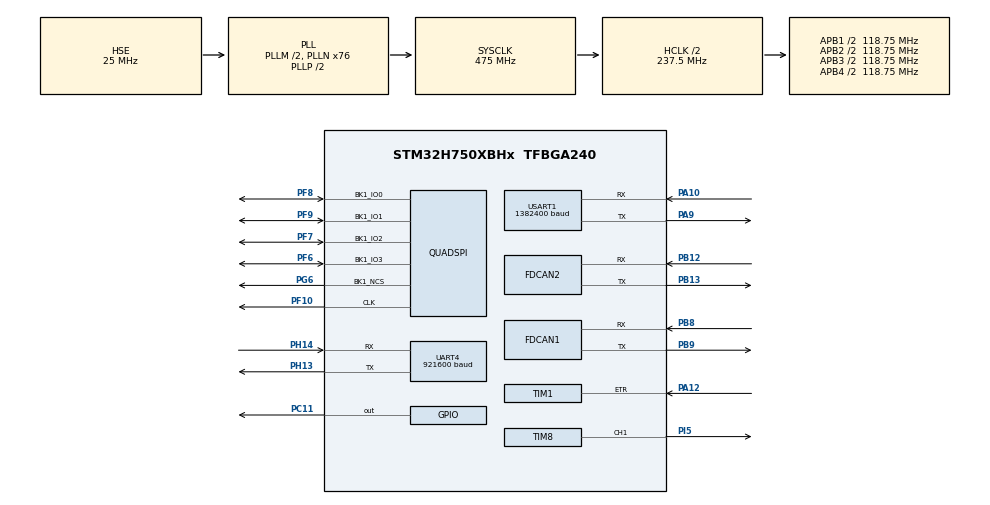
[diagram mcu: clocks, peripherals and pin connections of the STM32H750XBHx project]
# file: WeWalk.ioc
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CORTEX_M7.CPU_DCache=Disabled
CORTEX_M7.CPU_ICache=Disabled
CORTEX_M7.default_mode_Activation=0
Dma.MEMTOMEM.4.Direction=DMA_MEMORY_TO_MEMORY
Dma.MEMTOMEM.4.EventEnable=DISABLE
Dma.MEMTOMEM.4.FIFOMode=DMA_FIFOMODE_ENABLE
Dma.MEMTOMEM.4.FIFOThreshold=DMA_FIFO_THRESHOLD_FULL
Dma.MEMTOMEM.4.Instance=DMA2_Stream0
Dma.MEMTOMEM.4.MemBurst=DMA_MBURST_SINGLE
Dma.MEMTOMEM.4.MemDataAlignment=DMA_MDATAALIGN_BYTE
Dma.MEMTOMEM.4.MemInc=DMA_MINC_ENABLE
Dma.MEMTOMEM.4.Mode=DMA_NORMAL
Dma.MEMTOMEM.4.PeriphBurst=DMA_PBURST_SINGLE
Dma.MEMTOMEM.4.PeriphDataAlignment=DMA_PDATAALIGN_BYTE
Dma.MEMTOMEM.4.PeriphInc=DMA_PINC_DISABLE
Dma.MEMTOMEM.4.Polarity=HAL_DMAMUX_REQ_GEN_RISING
Dma.MEMTOMEM.4.Priority=DMA_PRIORITY_LOW
Dma.MEMTOMEM.4.RequestNumber=1
Dma.MEMTOMEM.4.SignalID=NONE
Dma.MEMTOMEM.4.SyncEnable=DISABLE
Dma.MEMTOMEM.4.SyncPolarity=HAL_DMAMUX_SYNC_NO_EVENT
Dma.MEMTOMEM.4.SyncRequestNumber=1
Dma.MEMTOMEM.4.SyncSignalID=NONE
Dma.Request0=USART1_RX
Dma.Request1=USART1_TX
Dma.Request2=UART4_RX
Dma.Request3=UART4_TX
Dma.Request4=MEMTOMEM
Dma.UART4_RX.2.Direction=DMA_PERIPH_TO_MEMORY
Dma.UART4_RX.2.EventEnable=DISABLE
Dma.UART4_RX.2.FIFOMode=DMA_FIFOMODE_DISABLE
Dma.UART4_RX.2.Instance=DMA1_Stream2
Dma.UART4_RX.2.MemDataAlignment=DMA_MDATAALIGN_BYTE
Dma.UART4_RX.2.MemInc=DMA_MINC_ENABLE
Dma.UART4_RX.2.Mode=DMA_CIRCULAR
Dma.UART4_RX.2.PeriphDataAlignment=DMA_PDATAALIGN_BYTE
Dma.UART4_RX.2.PeriphInc=DMA_PINC_DISABLE
Dma.UART4_RX.2.Polarity=HAL_DMAMUX_REQ_GEN_RISING
Dma.UART4_RX.2.Priority=DMA_PRIORITY_LOW
Dma.UART4_RX.2.RequestNumber=1
Dma.UART4_RX.2.SignalID=NONE
Dma.UART4_RX.2.SyncEnable=DISABLE
Dma.UART4_RX.2.SyncPolarity=HAL_DMAMUX_SYNC_NO_EVENT
Dma.UART4_RX.2.SyncRequestNumber=1
Dma.UART4_RX.2.SyncSignalID=NONE
Dma.UART4_TX.3.Direction=DMA_MEMORY_TO_PERIPH
Dma.UART4_TX.3.EventEnable=DISABLE
Dma.UART4_TX.3.FIFOMode=DMA_FIFOMODE_DISABLE
Dma.UART4_TX.3.Instance=DMA1_Stream3
Dma.UART4_TX.3.MemDataAlignment=DMA_MDATAALIGN_BYTE
Dma.UART4_TX.3.MemInc=DMA_MINC_ENABLE
Dma.UART4_TX.3.Mode=DMA_NORMAL
Dma.UART4_TX.3.PeriphDataAlignment=DMA_PDATAALIGN_BYTE
Dma.UART4_TX.3.PeriphInc=DMA_PINC_DISABLE
Dma.UART4_TX.3.Polarity=HAL_DMAMUX_REQ_GEN_RISING
Dma.UART4_TX.3.Priority=DMA_PRIORITY_LOW
Dma.UART4_TX.3.RequestNumber=1
Dma.UART4_TX.3.SignalID=NONE
Dma.UART4_TX.3.SyncEnable=DISABLE
Dma.UART4_TX.3.SyncPolarity=HAL_DMAMUX_SYNC_NO_EVENT
Dma.UART4_TX.3.SyncRequestNumber=1
Dma.UART4_TX.3.SyncSignalID=NONE
Dma.USART1_RX.0.Direction=DMA_PERIPH_TO_MEMORY
Dma.USART1_RX.0.EventEnable=DISABLE
Dma.USART1_RX.0.FIFOMode=DMA_FIFOMODE_DISABLE
Dma.USART1_RX.0.Instance=DMA1_Stream0
Dma.USART1_RX.0.MemDataAlignment=DMA_MDATAALIGN_BYTE
Dma.USART1_RX.0.MemInc=DMA_MINC_ENABLE
Dma.USART1_RX.0.Mode=DMA_CIRCULAR
Dma.USART1_RX.0.PeriphDataAlignment=DMA_PDATAALIGN_BYTE
Dma.USART1_RX.0.PeriphInc=DMA_PINC_DISABLE
Dma.USART1_RX.0.Polarity=HAL_DMAMUX_REQ_GEN_RISING
Dma.USART1_RX.0.Priority=DMA_PRIORITY_LOW
Dma.USART1_RX.0.RequestNumber=1
Dma.USART1_RX.0.SignalID=NONE
Dma.USART1_RX.0.SyncEnable=DISABLE
Dma.USART1_RX.0.SyncPolarity=HAL_DMAMUX_SYNC_NO_EVENT
Dma.USART1_RX.0.SyncRequestNumber=1
Dma.USART1_RX.0.SyncSignalID=NONE
Dma.USART1_TX.1.Direction=DMA_MEMORY_TO_PERIPH
Dma.USART1_TX.1.EventEnable=DISABLE
Dma.USART1_TX.1.FIFOMode=DMA_FIFOMODE_DISABLE
Dma.USART1_TX.1.Instance=DMA1_Stream1
Dma.USART1_TX.1.MemDataAlignment=DMA_MDATAALIGN_BYTE
Dma.USART1_TX.1.MemInc=DMA_MINC_ENABLE
Dma.USART1_TX.1.Mode=DMA_NORMAL
Dma.USART1_TX.1.PeriphDataAlignment=DMA_PDATAALIGN_BYTE
Dma.USART1_TX.1.PeriphInc=DMA_PINC_DISABLE
Dma.USART1_TX.1.Polarity=HAL_DMAMUX_REQ_GEN_RISING
Dma.USART1_TX.1.Priority=DMA_PRIORITY_LOW
Dma.USART1_TX.1.RequestNumber=1
Dma.USART1_TX.1.SignalID=NONE
Dma.USART1_TX.1.SyncEnable=DISABLE
Dma.USART1_TX.1.SyncPolarity=HAL_DMAMUX_SYNC_NO_EVENT
Dma.USART1_TX.1.SyncRequestNumber=1
Dma.USART1_TX.1.SyncSignalID=NONE
FDCAN1.AutoRetransmission=ENABLE
FDCAN1.CalculateBaudRateNominal=1000000
FDCAN1.CalculateTimeBitNominal=1000
FDCAN1.CalculateTimeQuantumNominal=100.0
FDCAN1.ClockCalibrationCCU=DISABLE
FDCAN1.FrameFormat=FDCAN_FRAME_CLASSIC
FDCAN1.NominalPrescaler=10
FDCAN1.NominalTimeSeg1=3
FDCAN1.NominalTimeSeg2=6
FDCAN1.RxBuffersNbr=5
FDCAN1.RxFifo0ElmtsNbr=5
FDCAN1.RxFifo1ElmtsNbr=5
FDCAN1.StdFiltersNbr=5
FDCAN1.TransmitPause=DISABLE
FDCAN1.TxBuffersNbr=2
FDCAN1.TxFifoQueueElmtsNbr=2
FDCAN1.TxFifoQueueMode=FDCAN_TX_QUEUE_OPERATION
FDCAN2.AutoRetransmission=ENABLE
FDCAN2.CalculateBaudRateNominal=1000000
FDCAN2.CalculateTimeBitNominal=1000
FDCAN2.CalculateTimeQuantumNominal=100.0
FDCAN2.FrameFormat=FDCAN_FRAME_CLASSIC
FDCAN2.NominalPrescaler=10
FDCAN2.NominalTimeSeg1=6
FDCAN2.NominalTimeSeg2=3
FDCAN2.RxBuffersNbr=2
FDCAN2.RxFifo0ElmtsNbr=3
FDCAN2.StdFiltersNbr=3
FDCAN2.TxBuffersNbr=2
FDCAN2.TxEventsNbr=2
FDCAN2.TxFifoQueueElmtsNbr=2
Mcu.Family=STM32H7
Mcu.Name=STM32H750XBHx
Mcu.Package=TFBGA240
NVIC.DMA1_Stream0_IRQn=true\:0\:0\:false\:false\:true\:false\:true\:true
NVIC.DMA1_Stream1_IRQn=true\:0\:0\:false\:false\:true\:false\:true\:true
NVIC.DMA1_Stream2_IRQn=true\:0\:0\:false\:false\:true\:false\:true\:true
NVIC.DMA1_Stream3_IRQn=true\:0\:0\:false\:false\:true\:false\:true\:true
NVIC.FDCAN1_IT0_IRQn=true\:0\:0\:false\:false\:true\:true\:true\:true
NVIC.FDCAN1_IT1_IRQn=true\:0\:0\:false\:false\:true\:true\:true\:true
NVIC.FDCAN2_IT0_IRQn=true\:0\:0\:false\:false\:true\:true\:true\:true
NVIC.FDCAN2_IT1_IRQn=true\:0\:0\:false\:false\:true\:true\:true\:true
NVIC.PriorityGroup=NVIC_PRIORITYGROUP_4
NVIC.TIM3_IRQn=true\:0\:0\:false\:false\:true\:true\:true\:true
NVIC.TIM4_IRQn=true\:0\:0\:false\:false\:true\:true\:true\:true
NVIC.TIM5_IRQn=true\:0\:0\:false\:false\:true\:true\:true\:true
NVIC.UART4_IRQn=true\:0\:0\:false\:false\:true\:true\:true\:true
NVIC.USART1_IRQn=true\:0\:0\:false\:false\:true\:true\:true\:true
PA10.GPIO_Speed=GPIO_SPEED_FREQ_VERY_HIGH
PA10.Mode=Asynchronous
PA10.Signal=USART1_RX
PA12.Signal=S_TIM1_ETR
PA9.GPIO_Speed=GPIO_SPEED_FREQ_VERY_HIGH
PA9.Mode=Asynchronous
PA9.Signal=USART1_TX
PB12.Mode=FDCAN_Activate
PB12.Signal=FDCAN2_RX
PB13.Mode=FDCAN_Activate
PB13.Signal=FDCAN2_TX
PB8.GPIO_Speed=GPIO_SPEED_FREQ_VERY_HIGH
PB8.Mode=FDCAN_Activate
PB8.Signal=FDCAN1_RX
PB9.GPIO_FM9=SYSCFG_PMCR_I2C_PB9_FMP
PB9.GPIO_Speed=GPIO_SPEED_FREQ_VERY_HIGH
PB9.Mode=FDCAN_Activate
PB9.Signal=FDCAN1_TX
PC11.Signal=GPIO_Output
PC14-OSC32_IN\ (OSC32_IN).Mode=LSE-External-Oscillator
PC14-OSC32_IN\ (OSC32_IN).Signal=RCC_OSC32_IN
PC15-OSC32_OUT\ (OSC32_OUT).Mode=LSE-External-Oscillator
PC15-OSC32_OUT\ (OSC32_OUT).Signal=RCC_OSC32_OUT
PE2.Signal=SPI4_SCK
PE5.Signal=SPI4_MISO
PE6.Signal=SPI4_MOSI
PF10.Mode=Single Bank 1
PF10.Signal=QUADSPI_CLK
PF6.Mode=Single Bank 1
PF6.Signal=QUADSPI_BK1_IO3
PF7.Mode=Single Bank 1
PF7.Signal=QUADSPI_BK1_IO2
PF8.Mode=Single Bank 1
PF8.Signal=QUADSPI_BK1_IO0
PF9.Mode=Single Bank 1
PF9.Signal=QUADSPI_BK1_IO1
PG6.Mode=Single Bank 1
PG6.Signal=QUADSPI_BK1_NCS
PH0-OSC_IN\ (PH0).Mode=HSE-External-Oscillator
PH0-OSC_IN\ (PH0).Signal=RCC_OSC_IN
PH1-OSC_OUT\ (PH1).Mode=HSE-External-Oscillator
PH1-OSC_OUT\ (PH1).Signal=RCC_OSC_OUT
PH13.GPIO_Speed=GPIO_SPEED_FREQ_VERY_HIGH
PH13.Mode=Asynchronous
PH13.Signal=UART4_TX
PH14.GPIO_Speed=GPIO_SPEED_FREQ_VERY_HIGH
PH14.Mode=Asynchronous
PH14.Signal=UART4_RX
PI5.Signal=S_TIM8_CH1
ProjectManager.HeapSize=0x200
ProjectManager.StackSize=0x400
ProjectManager.TargetToolchain=MDK-ARM V5
QUADSPI.ClockPrescaler=50
QUADSPI.FlashSize=24-1
RCC.ADCFreq_Value=100000000
RCC.APB1Freq_Value=118750000
RCC.APB2Freq_Value=118750000
RCC.APB3Freq_Value=118750000
RCC.APB4Freq_Value=118750000
RCC.CortexFreq_Value=475000000
RCC.D1PPRE=RCC_APB3_DIV2
RCC.D2PPRE1=RCC_APB1_DIV2
RCC.D2PPRE2=RCC_APB2_DIV2
RCC.D3PPRE=RCC_APB4_DIV2
RCC.DIVM1=2
RCC.DIVM2=20
RCC.DIVM3=25
RCC.DIVN1=76
RCC.DIVN2=240
RCC.DIVN3=300
RCC.DIVP2=3
RCC.DIVP3=20
RCC.DIVQ1=1
RCC.DIVQ2=3
RCC.DIVQ3=1
RCC.FDCANCLockSelection=RCC_FDCANCLKSOURCE_PLL2
RCC.HCLKFreq_Value=237500000
RCC.HPRE=RCC_HCLK_DIV2
RCC.HSE_VALUE=25000000
RCC.PLL2FRACN=0
RCC.PLL3FRACN=0
RCC.PLLFRACN=0
RCC.PLLSourceVirtual=RCC_PLLSOURCE_HSE
RCC.SPI123CLockSelection=RCC_SPI123CLKSOURCE_CLKP
RCC.SYSCLKFreq_VALUE=475000000
RCC.SYSCLKSource=RCC_SYSCLKSOURCE_PLLCLK
RCC.SupplySource=PWR_LDO_SUPPLY
RCC.USBFreq_Value=950000000
SH.S_TIM1_ETR.0=TIM1_ETR,ClockSourceETR_Mode2
SH.S_TIM8_CH1.0=TIM8_CH1,PWM Generation1 CH1
TIM3.Period=50-1
TIM3.Prescaler=47500-1
TIM4.Period=50-1
TIM4.Prescaler=47500-1
TIM5.Period=50-1
TIM5.Prescaler=4750-1
TIM8.Channel-PWM\ Generation1\ CH1=TIM_CHANNEL_1
TIM8.Period=1000-1
TIM8.Prescaler=2375-1
TIM8.Pulse-PWM\ Generation1\ CH1=300-1
UART4.BaudRate=921600
UART4.WordLength=WORDLENGTH_8B
USART1.BaudRate=1382400
USART1.VirtualMode-Asynchronous=VM_ASYNC
VP_MEMORYMAP_VS_MEMORYMAP.Mode=CurAppReg
VP_TIM3_VS_ClockSourceINT.Mode=Internal
VP_TIM4_VS_ClockSourceINT.Mode=Internal
VP_TIM5_VS_ClockSourceINT.Mode=Internal
board=custom

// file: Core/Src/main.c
/* USER CODE BEGIN Header */
/**
  ******************************************************************************
  * @file           : main.c
  * @brief          : Main program body
  ******************************************************************************
  * @attention
  *
  * Copyright (c) 2025 STMicroelectronics.
  * All rights reserved.
  *
  * This software is licensed under terms that can be found in the LICENSE file
  * in the root directory of this software component.
  * If no LICENSE file comes with this software, it is provided AS-IS.
  *
  ******************************************************************************
  */
/* USER CODE END Header */
#include "main.h"

FDCAN_HandleTypeDef hfdcan1;
FDCAN_HandleTypeDef hfdcan2;

QSPI_HandleTypeDef hqspi;

TIM_HandleTypeDef htim1;
TIM_HandleTypeDef htim3;
TIM_HandleTypeDef htim4;
TIM_HandleTypeDef htim5;
TIM_HandleTypeDef htim8;

UART_HandleTypeDef huart4;
UART_HandleTypeDef huart1;
DMA_HandleTypeDef hdma_uart4_rx;
DMA_HandleTypeDef hdma_uart4_tx;
DMA_HandleTypeDef hdma_usart1_rx;
DMA_HandleTypeDef hdma_usart1_tx;

DMA_HandleTypeDef hdma_memtomem_dma2_stream0;
/* USER CODE BEGIN PV */
/* Formal WeWalk Code */
WeWalkUIHandle                      hUI;
uint32_t                            ui_scheduler_count = 0;
float                               ui_scheduler_time_check = 0.0f;
WeWalkUnilateralHandle              hWeWalkRight, hWeWalkLeft;
GaitPhaseDetectionHandle            hGaitPhaseDetectionRight, hGaitPhaseDetectionLeft;
WeWalkHandle                        hWeWalk;
uint32_t                            main_scheduler_count = 0;
float                               main_scheduler_time_check = 0.0f;
SerialProtocolEchoHandle            hSerialPC;
FDCAN_RxHeaderTypeDef               rightMotorRxHeader;
FDCAN_TxHeaderTypeDef               rightMotorTxHeader =
{
  .Identifier = 0x140 + WEWALKMIDDLEWARE_RIGHT_MOTOR_ID,
  .IdType = FDCAN_STANDARD_ID,
  .TxFrameType = FDCAN_DATA_FRAME,
  .DataLength = FDCAN_DLC_BYTES_8,
  .FDFormat = FDCAN_CLASSIC_CAN,
  .TxEventFifoControl = FDCAN_NO_TX_EVENTS
};

FDCAN_FilterTypeDef                 rightMotorRxFilter =
{
	.IdType = FDCAN_STANDARD_ID,
	.FilterIndex = 0,
	.FilterType = FDCAN_FILTER_DUAL,
	.FilterID1 = 0x140 + WEWALKMIDDLEWARE_RIGHT_MOTOR_ID,
	.FilterID2 = 0x01,
	.FilterConfig = FDCAN_FILTER_TO_RXFIFO0_HP,
	.RxBufferIndex = 0
};

FDCAN_FilterTypeDef                 rightThighIMURx1Filter =
{
	.IdType = FDCAN_STANDARD_ID,
	.FilterIndex = 1,
	.FilterType = FDCAN_FILTER_DUAL,
	.FilterID1 = 10,
	.FilterID2 = 11,
	.FilterConfig = FDCAN_FILTER_TO_RXFIFO1_HP,
	.RxBufferIndex = 0
};
FDCAN_FilterTypeDef                 rightThighIMURx2Filter =
{
	.IdType = FDCAN_STANDARD_ID,
	.FilterIndex = 2,
	.FilterType = FDCAN_FILTER_DUAL,
	.FilterID1 = 12,
	.FilterID2 = 0,
	.FilterConfig = FDCAN_FILTER_TO_RXFIFO1_HP,
	.RxBufferIndex = 0
};

FDCAN_FilterTypeDef                 rightShankIMURx1Filter =
{
	.IdType = FDCAN_STANDARD_ID,
	.FilterIndex = 3,
	.FilterType = FDCAN_FILTER_DUAL,
	.FilterID1 = 13,
	.FilterID2 = 14,
	.FilterConfig = FDCAN_FILTER_TO_RXFIFO1_HP,
	.RxBufferIndex = 0
};
FDCAN_FilterTypeDef                 rightShankIMURx2Filter =
{
	.IdType = FDCAN_STANDARD_ID,
	.FilterIndex = 4,
	.FilterType = FDCAN_FILTER_DUAL,
	.FilterID1 = 15,
	.FilterID2 = 20,
	.FilterConfig = FDCAN_FILTER_TO_RXFIFO1_HP,
	.RxBufferIndex = 0
};

LKTECH_MG_Handle                    hMotorLeft, hMotorRight;
uint32_t                            motor_scheduler_count = 0;
float                               motor_scheduler_time_check = 0.0f;

/*IMU*/
union Int16UInt8 accThigh[3], gyroThigh[3], accShank[3], gyroShank[3];
union FloatUInt8 angleThigh[3], angleShank[3];
float thighIMURxCount = 0.0f;
float shankIMURxCount = 0.0f;

//For new task schedulaer logic testing//
uint8_t wewalk_ui_task_trigger_flag = 0;
uint8_t wewalk_main_task_trigger_flag = 0;
uint8_t wewalk_main_task_datalog_trigger = 0;
const uint8_t wewalk_main_task_datalog_trigger_threshold = 1;
uint8_t motor_task_trigger_flag = 0;
///////////////
/* USER CODE END PV */

void SystemClock_Config(void);
void PeriphCommonClock_Config(void);
static void MX_GPIO_Init(void);
static void MX_DMA_Init(void);
static void MX_FDCAN1_Init(void);
static void MX_FDCAN2_Init(void);
static void MX_USART1_UART_Init(void);
static void MX_UART4_Init(void);
static void MX_TIM1_Init(void);
static void MX_TIM8_Init(void);
static void MX_TIM3_Init(void);
static void MX_TIM4_Init(void);
static void MX_QUADSPI_Init(void);
static void MX_TIM5_Init(void);

int main(void)
{

  /* MCU Configuration--------------------------------------------------------*/

  /* Reset of all peripherals, Initializes the Flash interface and the Systick. */
  HAL_Init();

  /* Configure the system clock */
  SystemClock_Config();

  /* Configure the peripherals common clocks */
  PeriphCommonClock_Config();

  /* Initialize all configured peripherals */
  MX_GPIO_Init();
  MX_DMA_Init();
  MX_FDCAN1_Init();
  MX_FDCAN2_Init();
  MX_USART1_UART_Init();
  MX_UART4_Init();
  MX_TIM1_Init();
  MX_TIM8_Init();
  MX_TIM3_Init();
  MX_TIM4_Init();
  MX_QUADSPI_Init();
  MX_TIM5_Init();
  /* USER CODE BEGIN 2 */
  //////////////////////////////////////
  /////////Communication and UI/////////
  //////////////////////////////////////
  hSerialPC = SERIALPROTOCOLECHO_Create(&huart4, &hdma_memtomem_dma2_stream0);
  SERIALPROTOCOLECHO_EnableCommunication_CircularDMAMode(&hSerialPC);
  hUI = WEWALKUI_Create();
  hUI.serialUI = SERIALPROTOCOLECHO_Create(&huart1, &hdma_memtomem_dma2_stream0);
  SERIALPROTOCOLECHO_EnableCommunication_CircularDMAMode(&hUI.serialUI);
  SERIALPROTOCOLECHO_SetNewDatalogSendLabelFunction(&hSerialPC, Datalog_SendLabel);
	SERIALPROTOCOLECHO_SetNewDatalogSlot(&hSerialPC, datalog_data);
  SERIALPROTOCOLECHO_SetNewDatalogSlotLength(&hSerialPC, 24);

  /////////////////////////////////////
  //////////////Actuators//////////////
  /////////////////////////////////////
  LKTECH_MG_Init(&hMotorRight, &hfdcan1, &rightMotorTxHeader, &rightMotorRxHeader, &rightMotorRxFilter, 1, 36.0f, 1.0f);
  //////////////////////////////////////
  /////////////////IMUs/////////////////
  //////////////////////////////////////
  HAL_FDCAN_ConfigFilter(&hfdcan1, &rightThighIMURx1Filter);
  HAL_FDCAN_ConfigFilter(&hfdcan1, &rightThighIMURx2Filter);
  HAL_FDCAN_ConfigFilter(&hfdcan1, &rightShankIMURx1Filter);
  HAL_FDCAN_ConfigFilter(&hfdcan1, &rightShankIMURx2Filter);
//  HAL_FDCAN_ConfigFilter(&hfdcan1, &rightFootPlateSensorRxFilter);
  HAL_FDCAN_Start(&hfdcan1);
  HAL_FDCAN_ActivateNotification(&hfdcan1, FDCAN_IT_RX_FIFO0_NEW_MESSAGE, 0);
  HAL_FDCAN_ActivateNotification(&hfdcan1, FDCAN_IT_RX_FIFO1_NEW_MESSAGE, 0);
  HAL_FDCAN_ActivateNotification(&hfdcan1, FDCAN_IT_RX_BUFFER_NEW_MESSAGE, 0);
  /////////////////////////////////////
  //////////////Scheduler//////////////
  /////////////////////////////////////
  hGaitPhaseDetectionRight = WEWALK_GaitPhaseDetectionCreate(0.00032f, 1.0f);
  hWeWalkRight = WEWALKUNILATERAL_Create(&htim8, TIM_CHANNEL_1, &hGaitPhaseDetectionRight);
  hWeWalk = WEWALK_Create(&hUI, &hSerialPC, &hWeWalkLeft, &hWeWalkRight, WEWALK_APPLICATION_TYPE_UNILATERAL_LEG_RIGHT);

  //////////////////////////////////////
  ////////Flash and Load Settings///////
  //////////////////////////////////////
  W25Q_Init();
  WEWALKFLASH_LoadSettings(&hWeWalk);
  //////////////////////////////////////
  //////////////Start Tasks/////////////
  //////////////////////////////////////
  HAL_TIM_Base_Start_IT(&htim3);
  HAL_TIM_Base_Start_IT(&htim4);
  HAL_TIM_Base_Start_IT(&htim5);
	HAL_TIM_PWM_Start(&htim8, TIM_CHANNEL_1);
  WEWALKUI_SetLEDLogoPWMCCR(hWeWalk.right, hWeWalk.right->setting.ledLogoBrightnessPWMCCR);
  /* USER CODE END 2 */

  /* Infinite loop */
  /* USER CODE BEGIN WHILE */
  while (1)
  {
    if (hWeWalk.ifSaveSettingRequired)
    {
      WEWALKFLASH_SaveSettings(&hWeWalk);
      hWeWalk.ifSaveSettingRequired = 0;
      HAL_Delay(1000);
    }

    if (wewalk_ui_task_trigger_flag)
    {
      wewalk_ui_task_trigger_flag = 0;
      SERIALPROTOCOLECHO_ReceiveCargo(&hUI.serialUI);
      WEWALKUI_Host(&hWeWalk);
      ui_scheduler_count += 10;
      ui_scheduler_time_check = (float)HAL_GetTick() - (float)ui_scheduler_count;
    }

    if (wewalk_main_task_trigger_flag)
    {
      wewalk_main_task_trigger_flag = 0;
			SERIALPROTOCOLECHO_ReceiveCargo(&hSerialPC);
      SERIALPROTOCOLECHO_MasterHost(&hSerialPC);
      WEWALK_Main(&hWeWalk);
      main_scheduler_count += 10;
      main_scheduler_time_check = (float)HAL_GetTick() - (float)main_scheduler_count;
    }

    if (wewalk_main_task_datalog_trigger == wewalk_main_task_datalog_trigger_threshold)
    {
      datalog_data[0].f = hWeWalkRight.data.accThigh[0].f;
      datalog_data[1].f = hWeWalkRight.data.accThigh[1].f;
      datalog_data[2].f = hWeWalkRight.data.accThigh[2].f;
      datalog_data[3].f = hWeWalkRight.data.gyroThigh[0].f;
      datalog_data[4].f = hWeWalkRight.data.gyroThigh[1].f;
      datalog_data[5].f = hWeWalkRight.data.gyroThigh[2].f;
      datalog_data[6].f = hWeWalkRight.data.accShank[0].f;
      datalog_data[7].f = hWeWalkRight.data.accShank[1].f;
      datalog_data[8].f = hWeWalkRight.data.accShank[2].f;
      datalog_data[9].f = hWeWalkRight.data.gyroShank[0].f;
      datalog_data[10].f = hWeWalkRight.data.gyroShank[1].f;
      datalog_data[11].f = hWeWalkRight.data.gyroShank[2].f;
      datalog_data[12].f = hWeWalkRight.data.motorPos.f;
      datalog_data[13].f = hWeWalkRight.data.motorVel.f;
      datalog_data[14].f = hWeWalkRight.data.motorTorque.f;
      datalog_data[15].f = hWeWalkRight.data.gaitPhaseIndicator.f;
      datalog_data[16].f = hWeWalkRight.data.angleThigh[0].f;
      datalog_data[17].f = hWeWalkRight.data.angleThigh[1].f;
      datalog_data[18].f = hWeWalkRight.data.angleThigh[2].f;
      datalog_data[19].f = hWeWalkRight.data.angleShank[0].f;
      datalog_data[20].f = hWeWalkRight.data.angleShank[1].f;
      datalog_data[21].f = hWeWalkRight.data.angleShank[2].f;
      datalog_data[22].f = hWeWalkRight.data.forceSensorToe.f;
      datalog_data[23].f = hWeWalkRight.data.forceSensorHeel.f;
      hWeWalk.serialPC->ifNewDatalogPiece2Send = 1;
      wewalk_main_task_datalog_trigger = 0;
    }

    if (motor_task_trigger_flag)
    {
      motor_task_trigger_flag = 0;
      WEWALKMIDDLEWARE_MotorControlManager(&hWeWalk, &hMotorLeft, &hMotorRight);
    }

    /* USER CODE END WHILE */

  }
}

void SystemClock_Config(void)
{
  RCC_OscInitTypeDef RCC_OscInitStruct = {0};
  RCC_ClkInitTypeDef RCC_ClkInitStruct = {0};

  /** Supply configuration update enable
  */
  HAL_PWREx_ConfigSupply(PWR_LDO_SUPPLY);

  /** Configure the main internal regulator output voltage
  */
  __HAL_PWR_VOLTAGESCALING_CONFIG(PWR_REGULATOR_VOLTAGE_SCALE0);

  while(!__HAL_PWR_GET_FLAG(PWR_FLAG_VOSRDY)) {}

  /** Initializes the RCC Oscillators according to the specified parameters
  * in the RCC_OscInitTypeDef structure.
  */
  RCC_OscInitStruct.OscillatorType = RCC_OSCILLATORTYPE_HSE;
  RCC_OscInitStruct.HSEState = RCC_HSE_ON;
  RCC_OscInitStruct.PLL.PLLState = RCC_PLL_ON;
  RCC_OscInitStruct.PLL.PLLSource = RCC_PLLSOURCE_HSE;
  RCC_OscInitStruct.PLL.PLLM = 2;
  RCC_OscInitStruct.PLL.PLLN = 76;
  RCC_OscInitStruct.PLL.PLLP = 2;
  RCC_OscInitStruct.PLL.PLLQ = 1;
  RCC_OscInitStruct.PLL.PLLR = 2;
  RCC_OscInitStruct.PLL.PLLRGE = RCC_PLL1VCIRANGE_3;
  RCC_OscInitStruct.PLL.PLLVCOSEL = RCC_PLL1VCOWIDE;
  RCC_OscInitStruct.PLL.PLLFRACN = 0;
  if (HAL_RCC_OscConfig(&RCC_OscInitStruct) != HAL_OK)
  {
    Error_Handler();
  }

  /** Initializes the CPU, AHB and APB buses clocks
  */
  RCC_ClkInitStruct.ClockType = RCC_CLOCKTYPE_HCLK|RCC_CLOCKTYPE_SYSCLK
                              |RCC_CLOCKTYPE_PCLK1|RCC_CLOCKTYPE_PCLK2
                              |RCC_CLOCKTYPE_D3PCLK1|RCC_CLOCKTYPE_D1PCLK1;
  RCC_ClkInitStruct.SYSCLKSource = RCC_SYSCLKSOURCE_PLLCLK;
  RCC_ClkInitStruct.SYSCLKDivider = RCC_SYSCLK_DIV1;
  RCC_ClkInitStruct.AHBCLKDivider = RCC_HCLK_DIV2;
  RCC_ClkInitStruct.APB3CLKDivider = RCC_APB3_DIV2;
  RCC_ClkInitStruct.APB1CLKDivider = RCC_APB1_DIV2;
  RCC_ClkInitStruct.APB2CLKDivider = RCC_APB2_DIV2;
  RCC_ClkInitStruct.APB4CLKDivider = RCC_APB4_DIV2;

  if (HAL_RCC_ClockConfig(&RCC_ClkInitStruct, FLASH_LATENCY_4) != HAL_OK)
  {
    Error_Handler();
  }
}

void PeriphCommonClock_Config(void)
{
  RCC_PeriphCLKInitTypeDef PeriphClkInitStruct = {0};

  /** Initializes the peripherals clock
  */
  PeriphClkInitStruct.PeriphClockSelection = RCC_PERIPHCLK_FDCAN;
  PeriphClkInitStruct.PLL2.PLL2M = 20;
  PeriphClkInitStruct.PLL2.PLL2N = 240;
  PeriphClkInitStruct.PLL2.PLL2P = 3;
  PeriphClkInitStruct.PLL2.PLL2Q = 3;
  PeriphClkInitStruct.PLL2.PLL2R = 2;
  PeriphClkInitStruct.PLL2.PLL2RGE = RCC_PLL2VCIRANGE_0;
  PeriphClkInitStruct.PLL2.PLL2VCOSEL = RCC_PLL2VCOWIDE;
  PeriphClkInitStruct.PLL2.PLL2FRACN = 0;
  PeriphClkInitStruct.FdcanClockSelection = RCC_FDCANCLKSOURCE_PLL2;
  if (HAL_RCCEx_PeriphCLKConfig(&PeriphClkInitStruct) != HAL_OK)
  {
    Error_Handler();
  }
}

static void MX_FDCAN1_Init(void)
{

  hfdcan1.Instance = FDCAN1;
  hfdcan1.Init.FrameFormat = FDCAN_FRAME_CLASSIC;
  hfdcan1.Init.Mode = FDCAN_MODE_NORMAL;
  hfdcan1.Init.AutoRetransmission = ENABLE;
  hfdcan1.Init.TransmitPause = DISABLE;
  hfdcan1.Init.ProtocolException = DISABLE;
  hfdcan1.Init.NominalPrescaler = 10;
  hfdcan1.Init.NominalSyncJumpWidth = 1;
  hfdcan1.Init.NominalTimeSeg1 = 3;
  hfdcan1.Init.NominalTimeSeg2 = 6;
  hfdcan1.Init.DataPrescaler = 1;
  hfdcan1.Init.DataSyncJumpWidth = 1;
  hfdcan1.Init.DataTimeSeg1 = 1;
  hfdcan1.Init.DataTimeSeg2 = 1;
  hfdcan1.Init.MessageRAMOffset = 0;
  hfdcan1.Init.StdFiltersNbr = 5;
  hfdcan1.Init.ExtFiltersNbr = 0;
  hfdcan1.Init.RxFifo0ElmtsNbr = 5;
  hfdcan1.Init.RxFifo0ElmtSize = FDCAN_DATA_BYTES_8;
  hfdcan1.Init.RxFifo1ElmtsNbr = 5;
  hfdcan1.Init.RxFifo1ElmtSize = FDCAN_DATA_BYTES_8;
  hfdcan1.Init.RxBuffersNbr = 5;
  hfdcan1.Init.RxBufferSize = FDCAN_DATA_BYTES_8;
  hfdcan1.Init.TxEventsNbr = 0;
  hfdcan1.Init.TxBuffersNbr = 2;
  hfdcan1.Init.TxFifoQueueElmtsNbr = 2;
  hfdcan1.Init.TxFifoQueueMode = FDCAN_TX_QUEUE_OPERATION;
  hfdcan1.Init.TxElmtSize = FDCAN_DATA_BYTES_8;
  if (HAL_FDCAN_Init(&hfdcan1) != HAL_OK)
  {
    Error_Handler();
  }

}

static void MX_FDCAN2_Init(void)
{

  hfdcan2.Instance = FDCAN2;
  hfdcan2.Init.FrameFormat = FDCAN_FRAME_CLASSIC;
  hfdcan2.Init.Mode = FDCAN_MODE_NORMAL;
  hfdcan2.Init.AutoRetransmission = ENABLE;
  hfdcan2.Init.TransmitPause = DISABLE;
  hfdcan2.Init.ProtocolException = DISABLE;
  hfdcan2.Init.NominalPrescaler = 10;
  hfdcan2.Init.NominalSyncJumpWidth = 1;
  hfdcan2.Init.NominalTimeSeg1 = 6;
  hfdcan2.Init.NominalTimeSeg2 = 3;
  hfdcan2.Init.DataPrescaler = 1;
  hfdcan2.Init.DataSyncJumpWidth = 1;
  hfdcan2.Init.DataTimeSeg1 = 1;
  hfdcan2.Init.DataTimeSeg2 = 1;
  hfdcan2.Init.MessageRAMOffset = 0;
  hfdcan2.Init.StdFiltersNbr = 3;
  hfdcan2.Init.ExtFiltersNbr = 0;
  hfdcan2.Init.RxFifo0ElmtsNbr = 3;
  hfdcan2.Init.RxFifo0ElmtSize = FDCAN_DATA_BYTES_8;
  hfdcan2.Init.RxFifo1ElmtsNbr = 0;
  hfdcan2.Init.RxFifo1ElmtSize = FDCAN_DATA_BYTES_8;
  hfdcan2.Init.RxBuffersNbr = 2;
  hfdcan2.Init.RxBufferSize = FDCAN_DATA_BYTES_8;
  hfdcan2.Init.TxEventsNbr = 2;
  hfdcan2.Init.TxBuffersNbr = 2;
  hfdcan2.Init.TxFifoQueueElmtsNbr = 2;
  hfdcan2.Init.TxFifoQueueMode = FDCAN_TX_FIFO_OPERATION;
  hfdcan2.Init.TxElmtSize = FDCAN_DATA_BYTES_8;
  if (HAL_FDCAN_Init(&hfdcan2) != HAL_OK)
  {
    Error_Handler();
  }

}

static void MX_QUADSPI_Init(void)
{

  /* QUADSPI parameter configuration*/
  hqspi.Instance = QUADSPI;
  hqspi.Init.ClockPrescaler = 50;
  hqspi.Init.FifoThreshold = 1;
  hqspi.Init.SampleShifting = QSPI_SAMPLE_SHIFTING_NONE;
  hqspi.Init.FlashSize = 24-1;
  hqspi.Init.ChipSelectHighTime = QSPI_CS_HIGH_TIME_1_CYCLE;
  hqspi.Init.ClockMode = QSPI_CLOCK_MODE_0;
  hqspi.Init.FlashID = QSPI_FLASH_ID_1;
  hqspi.Init.DualFlash = QSPI_DUALFLASH_DISABLE;
  if (HAL_QSPI_Init(&hqspi) != HAL_OK)
  {
    Error_Handler();
  }

}

static void MX_TIM1_Init(void)
{

  TIM_ClockConfigTypeDef sClockSourceConfig = {0};
  TIM_MasterConfigTypeDef sMasterConfig = {0};

  htim1.Instance = TIM1;
  htim1.Init.Prescaler = 0;
  htim1.Init.CounterMode = TIM_COUNTERMODE_UP;
  htim1.Init.Period = 65535;
  htim1.Init.ClockDivision = TIM_CLOCKDIVISION_DIV1;
  htim1.Init.RepetitionCounter = 0;
  htim1.Init.AutoReloadPreload = TIM_AUTORELOAD_PRELOAD_DISABLE;
  if (HAL_TIM_Base_Init(&htim1) != HAL_OK)
  {
    Error_Handler();
  }
  sClockSourceConfig.ClockSource = TIM_CLOCKSOURCE_ETRMODE2;
  sClockSourceConfig.ClockPolarity = TIM_CLOCKPOLARITY_NONINVERTED;
  sClockSourceConfig.ClockPrescaler = TIM_CLOCKPRESCALER_DIV1;
  sClockSourceConfig.ClockFilter = 0;
  if (HAL_TIM_ConfigClockSource(&htim1, &sClockSourceConfig) != HAL_OK)
  {
    Error_Handler();
  }
  sMasterConfig.MasterOutputTrigger = TIM_TRGO_RESET;
  sMasterConfig.MasterOutputTrigger2 = TIM_TRGO2_RESET;
  sMasterConfig.MasterSlaveMode = TIM_MASTERSLAVEMODE_DISABLE;
  if (HAL_TIMEx_MasterConfigSynchronization(&htim1, &sMasterConfig) != HAL_OK)
  {
    Error_Handler();
  }

}

static void MX_TIM3_Init(void)
{

  TIM_ClockConfigTypeDef sClockSourceConfig = {0};
  TIM_MasterConfigTypeDef sMasterConfig = {0};

  htim3.Instance = TIM3;
  htim3.Init.Prescaler = 47500-1;
  htim3.Init.CounterMode = TIM_COUNTERMODE_UP;
  htim3.Init.Period = 50-1;
  htim3.Init.ClockDivision = TIM_CLOCKDIVISION_DIV1;
  htim3.Init.AutoReloadPreload = TIM_AUTORELOAD_PRELOAD_DISABLE;
  if (HAL_TIM_Base_Init(&htim3) != HAL_OK)
  {
    Error_Handler();
  }
  sClockSourceConfig.ClockSource = TIM_CLOCKSOURCE_INTERNAL;
  if (HAL_TIM_ConfigClockSource(&htim3, &sClockSourceConfig) != HAL_OK)
  {
    Error_Handler();
  }
  sMasterConfig.MasterOutputTrigger = TIM_TRGO_RESET;
  sMasterConfig.MasterSlaveMode = TIM_MASTERSLAVEMODE_DISABLE;
  if (HAL_TIMEx_MasterConfigSynchronization(&htim3, &sMasterConfig) != HAL_OK)
  {
    Error_Handler();
  }

}

static void MX_TIM4_Init(void)
{

  TIM_ClockConfigTypeDef sClockSourceConfig = {0};
  TIM_MasterConfigTypeDef sMasterConfig = {0};

  htim4.Instance = TIM4;
  htim4.Init.Prescaler = 47500-1;
  htim4.Init.CounterMode = TIM_COUNTERMODE_UP;
  htim4.Init.Period = 50-1;
  htim4.Init.ClockDivision = TIM_CLOCKDIVISION_DIV1;
  htim4.Init.AutoReloadPreload = TIM_AUTORELOAD_PRELOAD_DISABLE;
  if (HAL_TIM_Base_Init(&htim4) != HAL_OK)
  {
    Error_Handler();
  }
  sClockSourceConfig.ClockSource = TIM_CLOCKSOURCE_INTERNAL;
  if (HAL_TIM_ConfigClockSource(&htim4, &sClockSourceConfig) != HAL_OK)
  {
    Error_Handler();
  }
  sMasterConfig.MasterOutputTrigger = TIM_TRGO_RESET;
  sMasterConfig.MasterSlaveMode = TIM_MASTERSLAVEMODE_DISABLE;
  if (HAL_TIMEx_MasterConfigSynchronization(&htim4, &sMasterConfig) != HAL_OK)
  {
    Error_Handler();
  }

}

static void MX_TIM5_Init(void)
{

  TIM_ClockConfigTypeDef sClockSourceConfig = {0};
  TIM_MasterConfigTypeDef sMasterConfig = {0};

  htim5.Instance = TIM5;
  htim5.Init.Prescaler = 4750-1;
  htim5.Init.CounterMode = TIM_COUNTERMODE_UP;
  htim5.Init.Period = 50-1;
  htim5.Init.ClockDivision = TIM_CLOCKDIVISION_DIV1;
  htim5.Init.AutoReloadPreload = TIM_AUTORELOAD_PRELOAD_DISABLE;
  if (HAL_TIM_Base_Init(&htim5) != HAL_OK)
  {
    Error_Handler();
  }
  sClockSourceConfig.ClockSource = TIM_CLOCKSOURCE_INTERNAL;
  if (HAL_TIM_ConfigClockSource(&htim5, &sClockSourceConfig) != HAL_OK)
  {
    Error_Handler();
  }
  sMasterConfig.MasterOutputTrigger = TIM_TRGO_RESET;
  sMasterConfig.MasterSlaveMode = TIM_MASTERSLAVEMODE_DISABLE;
  if (HAL_TIMEx_MasterConfigSynchronization(&htim5, &sMasterConfig) != HAL_OK)
  {
    Error_Handler();
  }

}

static void MX_TIM8_Init(void)
{

  TIM_MasterConfigTypeDef sMasterConfig = {0};
  TIM_OC_InitTypeDef sConfigOC = {0};
  TIM_BreakDeadTimeConfigTypeDef sBreakDeadTimeConfig = {0};

  htim8.Instance = TIM8;
  htim8.Init.Prescaler = 2375-1;
  htim8.Init.CounterMode = TIM_COUNTERMODE_UP;
  htim8.Init.Period = 1000-1;
  htim8.Init.ClockDivision = TIM_CLOCKDIVISION_DIV1;
  htim8.Init.RepetitionCounter = 0;
  htim8.Init.AutoReloadPreload = TIM_AUTORELOAD_PRELOAD_DISABLE;
  if (HAL_TIM_PWM_Init(&htim8) != HAL_OK)
  {
    Error_Handler();
  }
  sMasterConfig.MasterOutputTrigger = TIM_TRGO_RESET;
  sMasterConfig.MasterOutputTrigger2 = TIM_TRGO2_RESET;
  sMasterConfig.MasterSlaveMode = TIM_MASTERSLAVEMODE_DISABLE;
  if (HAL_TIMEx_MasterConfigSynchronization(&htim8, &sMasterConfig) != HAL_OK)
  {
    Error_Handler();
  }
  sConfigOC.OCMode = TIM_OCMODE_PWM1;
  sConfigOC.Pulse = 300-1;
  sConfigOC.OCPolarity = TIM_OCPOLARITY_HIGH;
  sConfigOC.OCNPolarity = TIM_OCNPOLARITY_HIGH;
  sConfigOC.OCFastMode = TIM_OCFAST_DISABLE;
  sConfigOC.OCIdleState = TIM_OCIDLESTATE_RESET;
  sConfigOC.OCNIdleState = TIM_OCNIDLESTATE_RESET;
  if (HAL_TIM_PWM_ConfigChannel(&htim8, &sConfigOC, TIM_CHANNEL_1) != HAL_OK)
  {
    Error_Handler();
  }
  sBreakDeadTimeConfig.OffStateRunMode = TIM_OSSR_DISABLE;
  sBreakDeadTimeConfig.OffStateIDLEMode = TIM_OSSI_DISABLE;
  sBreakDeadTimeConfig.LockLevel = TIM_LOCKLEVEL_OFF;
  sBreakDeadTimeConfig.DeadTime = 0;
  sBreakDeadTimeConfig.BreakState = TIM_BREAK_DISABLE;
  sBreakDeadTimeConfig.BreakPolarity = TIM_BREAKPOLARITY_HIGH;
  sBreakDeadTimeConfig.BreakFilter = 0;
  sBreakDeadTimeConfig.Break2State = TIM_BREAK2_DISABLE;
  sBreakDeadTimeConfig.Break2Polarity = TIM_BREAK2POLARITY_HIGH;
  sBreakDeadTimeConfig.Break2Filter = 0;
  sBreakDeadTimeConfig.AutomaticOutput = TIM_AUTOMATICOUTPUT_DISABLE;
  if (HAL_TIMEx_ConfigBreakDeadTime(&htim8, &sBreakDeadTimeConfig) != HAL_OK)
  {
    Error_Handler();
  }
  HAL_TIM_MspPostInit(&htim8);

}

static void MX_UART4_Init(void)
{

  huart4.Instance = UART4;
  huart4.Init.BaudRate = 921600;
  huart4.Init.WordLength = UART_WORDLENGTH_8B;
  huart4.Init.StopBits = UART_STOPBITS_1;
  huart4.Init.Parity = UART_PARITY_NONE;
  huart4.Init.Mode = UART_MODE_TX_RX;
  huart4.Init.HwFlowCtl = UART_HWCONTROL_NONE;
  huart4.Init.OverSampling = UART_OVERSAMPLING_16;
  huart4.Init.OneBitSampling = UART_ONE_BIT_SAMPLE_DISABLE;
  huart4.Init.ClockPrescaler = UART_PRESCALER_DIV1;
  huart4.AdvancedInit.AdvFeatureInit = UART_ADVFEATURE_NO_INIT;
  if (HAL_UART_Init(&huart4) != HAL_OK)
  {
    Error_Handler();
  }
  if (HAL_UARTEx_SetTxFifoThreshold(&huart4, UART_TXFIFO_THRESHOLD_1_8) != HAL_OK)
  {
    Error_Handler();
  }
  if (HAL_UARTEx_SetRxFifoThreshold(&huart4, UART_RXFIFO_THRESHOLD_1_8) != HAL_OK)
  {
    Error_Handler();
  }
  if (HAL_UARTEx_DisableFifoMode(&huart4) != HAL_OK)
  {
    Error_Handler();
  }

}

static void MX_USART1_UART_Init(void)
{

  huart1.Instance = USART1;
  huart1.Init.BaudRate = 1382400;
  huart1.Init.WordLength = UART_WORDLENGTH_8B;
  huart1.Init.StopBits = UART_STOPBITS_1;
  huart1.Init.Parity = UART_PARITY_NONE;
  huart1.Init.Mode = UART_MODE_TX_RX;
  huart1.Init.HwFlowCtl = UART_HWCONTROL_NONE;
  huart1.Init.OverSampling = UART_OVERSAMPLING_16;
  huart1.Init.OneBitSampling = UART_ONE_BIT_SAMPLE_DISABLE;
  huart1.Init.ClockPrescaler = UART_PRESCALER_DIV1;
  huart1.AdvancedInit.AdvFeatureInit = UART_ADVFEATURE_NO_INIT;
  if (HAL_UART_Init(&huart1) != HAL_OK)
  {
    Error_Handler();
  }
  if (HAL_UARTEx_SetTxFifoThreshold(&huart1, UART_TXFIFO_THRESHOLD_1_8) != HAL_OK)
  {
    Error_Handler();
  }
  if (HAL_UARTEx_SetRxFifoThreshold(&huart1, UART_RXFIFO_THRESHOLD_1_8) != HAL_OK)
  {
    Error_Handler();
  }
  if (HAL_UARTEx_DisableFifoMode(&huart1) != HAL_OK)
  {
    Error_Handler();
  }

}

static void MX_DMA_Init(void)
{

  /* DMA controller clock enable */
  __HAL_RCC_DMA1_CLK_ENABLE();
  __HAL_RCC_DMA2_CLK_ENABLE();

  /* Configure DMA request hdma_memtomem_dma2_stream0 on DMA2_Stream0 */
  hdma_memtomem_dma2_stream0.Instance = DMA2_Stream0;
  hdma_memtomem_dma2_stream0.Init.Request = DMA_REQUEST_MEM2MEM;
  hdma_memtomem_dma2_stream0.Init.Direction = DMA_MEMORY_TO_MEMORY;
  hdma_memtomem_dma2_stream0.Init.PeriphInc = DMA_PINC_DISABLE;
  hdma_memtomem_dma2_stream0.Init.MemInc = DMA_MINC_ENABLE;
  hdma_memtomem_dma2_stream0.Init.PeriphDataAlignment = DMA_PDATAALIGN_BYTE;
  hdma_memtomem_dma2_stream0.Init.MemDataAlignment = DMA_MDATAALIGN_BYTE;
  hdma_memtomem_dma2_stream0.Init.Mode = DMA_NORMAL;
  hdma_memtomem_dma2_stream0.Init.Priority = DMA_PRIORITY_LOW;
  hdma_memtomem_dma2_stream0.Init.FIFOMode = DMA_FIFOMODE_ENABLE;
  hdma_memtomem_dma2_stream0.Init.FIFOThreshold = DMA_FIFO_THRESHOLD_FULL;
  hdma_memtomem_dma2_stream0.Init.MemBurst = DMA_MBURST_SINGLE;
  hdma_memtomem_dma2_stream0.Init.PeriphBurst = DMA_PBURST_SINGLE;
  if (HAL_DMA_Init(&hdma_memtomem_dma2_stream0) != HAL_OK)
  {
    Error_Handler( );
  }

  /* DMA interrupt init */
  /* DMA1_Stream0_IRQn interrupt configuration */
  HAL_NVIC_SetPriority(DMA1_Stream0_IRQn, 0, 0);
  HAL_NVIC_EnableIRQ(DMA1_Stream0_IRQn);
  /* DMA1_Stream1_IRQn interrupt configuration */
  HAL_NVIC_SetPriority(DMA1_Stream1_IRQn, 0, 0);
  HAL_NVIC_EnableIRQ(DMA1_Stream1_IRQn);
  /* DMA1_Stream2_IRQn interrupt configuration */
  HAL_NVIC_SetPriority(DMA1_Stream2_IRQn, 0, 0);
  HAL_NVIC_EnableIRQ(DMA1_Stream2_IRQn);
  /* DMA1_Stream3_IRQn interrupt configuration */
  HAL_NVIC_SetPriority(DMA1_Stream3_IRQn, 0, 0);
  HAL_NVIC_EnableIRQ(DMA1_Stream3_IRQn);

}

static void MX_GPIO_Init(void)
{
  GPIO_InitTypeDef GPIO_InitStruct = {0};

  /* GPIO Ports Clock Enable */
  __HAL_RCC_GPIOI_CLK_ENABLE();
  __HAL_RCC_GPIOC_CLK_ENABLE();
  __HAL_RCC_GPIOH_CLK_ENABLE();
  __HAL_RCC_GPIOE_CLK_ENABLE();
  __HAL_RCC_GPIOB_CLK_ENABLE();
  __HAL_RCC_GPIOA_CLK_ENABLE();
  __HAL_RCC_GPIOG_CLK_ENABLE();
  __HAL_RCC_GPIOF_CLK_ENABLE();

  /*Configure GPIO pin Output Level */
  HAL_GPIO_WritePin(GPIOC, GPIO_PIN_11, GPIO_PIN_RESET);

  /*Configure GPIO pin : PC11 */
  GPIO_InitStruct.Pin = GPIO_PIN_11;
  GPIO_InitStruct.Mode = GPIO_MODE_OUTPUT_PP;
  GPIO_InitStruct.Pull = GPIO_NOPULL;
  GPIO_InitStruct.Speed = GPIO_SPEED_FREQ_LOW;
  HAL_GPIO_Init(GPIOC, &GPIO_InitStruct);

  /*Configure GPIO pins : PE2 PE5 PE6 */
  GPIO_InitStruct.Pin = GPIO_PIN_2|GPIO_PIN_5|GPIO_PIN_6;
  GPIO_InitStruct.Mode = GPIO_MODE_AF_PP;
  GPIO_InitStruct.Pull = GPIO_NOPULL;
  GPIO_InitStruct.Speed = GPIO_SPEED_FREQ_LOW;
  GPIO_InitStruct.Alternate = GPIO_AF5_SPI4;
  HAL_GPIO_Init(GPIOE, &GPIO_InitStruct);

}

/* USER CODE BEGIN 4 */
void HAL_FDCAN_RxFifo0Callback(FDCAN_HandleTypeDef *hfdcan, uint32_t RxFifo0ITs)
{
  FDCAN_RxHeaderTypeDef temp_rxheader;
  uint8_t temp_can_rx[8];
  HAL_FDCAN_GetRxMessage(hfdcan, FDCAN_RX_FIFO0, &temp_rxheader, temp_can_rx);
  if (temp_rxheader.Identifier == hMotorRight.canID)
  {
    LKTECH_MG_GetFeedback(&hMotorRight, temp_can_rx);
    motor_scheduler_count += 1;
    motor_scheduler_time_check = (float)HAL_GetTick() - (float)motor_scheduler_count;
    hWeWalk.right->data.motorCur.f = hMotorRight.current.f;
    hWeWalk.right->data.motorTorque.f = hMotorRight.current.f * hWeWalk.right->setting.motorKt.f;
    hWeWalk.right->data.motorPosRaw.f = hMotorRight.angle.f;
    hWeWalk.right->data.motorPos.f = hWeWalk.right->data.motorPosRaw.f - hWeWalk.right->setting.motorKneeJointAngleOffset.f;
    hWeWalk.right->data.motorPosCos.f = cosf(hWeWalk.right->data.motorPos.f * deg2rad);
    hWeWalk.right->data.motorPos.f = acosf(hWeWalk.right->data.motorPosCos.f) * rad2deg;
    hWeWalk.right->data.motorVel.f = -hMotorRight.speedDeg.f;
  }

  /* Prevent unused argument(s) compilation warning */
  UNUSED(hfdcan);
  UNUSED(RxFifo0ITs);

  /* NOTE: This function Should not be modified, when the callback is needed,
            the HAL_FDCAN_RxFifo0Callback could be implemented in the user file
   */
}

void HAL_FDCAN_RxBufferNewMessageCallback(FDCAN_HandleTypeDef *hfdcan)
{
  FDCAN_RxHeaderTypeDef temp_rxheader;
  uint8_t temp_can_rx[8];
  HAL_FDCAN_GetRxMessage(hfdcan, FDCAN_RX_BUFFER0, &temp_rxheader, temp_can_rx);
  UNUSED(hfdcan);

}

void HAL_FDCAN_RxFifo1Callback(FDCAN_HandleTypeDef *hfdcan, uint32_t RxFifo1ITs)
{
  FDCAN_RxHeaderTypeDef temp_rxheader;
  uint8_t temp_can_rx[8];
  HAL_FDCAN_GetRxMessage(hfdcan, FDCAN_RX_FIFO1, &temp_rxheader, temp_can_rx);
  if (temp_rxheader.Identifier == 10)
  {
    memcpy(&accThigh[0].b8[0], &temp_can_rx[0], 6);
    memcpy(&gyroThigh[0].b8, &temp_can_rx[6], 2);
    hWeWalkRight.data.accThigh[0].f = ((float)accThigh[0].b16) * 0.0008974358974f;
    hWeWalkRight.data.accThigh[1].f = ((float)accThigh[1].b16) * 0.0008974358974f;
    hWeWalkRight.data.accThigh[2].f = ((float)accThigh[2].b16) * 0.0008974358974f;
    hWeWalkRight.data.gyroThigh[0].f = ((float)gyroThigh[0].b16) * 0.00106526443603169529841533860381f;
    thighIMURxCount += 0.00166666666f;
  }
  else if (temp_rxheader.Identifier == 11)
  {
    memcpy(&gyroThigh[1].b8[0], &temp_can_rx[0], 4);
    memcpy(&angleThigh[0].b8[0], &temp_can_rx[4], 4);
    hWeWalkRight.data.gyroThigh[1].f = ((float)gyroThigh[1].b16) * 0.00106526443603169529841533860381f;
    hWeWalkRight.data.gyroThigh[2].f = ((float)gyroThigh[2].b16) * 0.00106526443603169529841533860381f;
    hWeWalkRight.data.angleThigh[0].f = angleThigh[0].f;
    thighIMURxCount += 0.00166666666f;
  }
  else if (temp_rxheader.Identifier == 12)
  {
    memcpy(&angleThigh[1].b8[0], &temp_can_rx[0], 8);
    hWeWalkRight.data.angleThigh[2].f = angleThigh[1].f;
    hWeWalkRight.data.angleThigh[1].f = angleThigh[2].f;
    thighIMURxCount += 0.00166666666f;
  }

  if (temp_rxheader.Identifier == 13)
  {
    memcpy(&accShank[0].b8[0], &temp_can_rx[0], 6);
    memcpy(&gyroShank[0].b8, &temp_can_rx[6], 2);
    hWeWalkRight.data.accShank[0].f = ((float)accShank[0].b16) * 0.0008974358974f;
    hWeWalkRight.data.accShank[1].f = ((float)accShank[1].b16) * 0.0008974358974f;
    hWeWalkRight.data.accShank[2].f = ((float)accShank[2].b16) * 0.0008974358974f;
    hWeWalkRight.data.gyroShank[0].f = ((float)gyroShank[0].b16) * 0.00106526443603169529841533860381f;
    shankIMURxCount += 1.0f/600.0f;
  }
  else if (temp_rxheader.Identifier == 14)
  {
    memcpy(&gyroShank[1].b8[0], &temp_can_rx[0], 4);
    memcpy(&angleShank[0].b8[0], &temp_can_rx[4], 4);
    hWeWalkRight.data.gyroShank[1].f = ((float)gyroShank[1].b16) * 0.00106526443603169529841533860381f;
    hWeWalkRight.data.gyroShank[2].f = ((float)gyroShank[2].b16) * 0.00106526443603169529841533860381f;
    hWeWalkRight.data.angleShank[0].f = angleShank[0].f;
    shankIMURxCount += 1.0f/600.0f;
  }
  else if (temp_rxheader.Identifier == 15)
  {
    memcpy(&angleShank[1].b8[0], &temp_can_rx[0], 8);
    hWeWalkRight.data.angleShank[2].f = angleShank[1].f;
    hWeWalkRight.data.angleShank[1].f = angleShank[2].f;
    shankIMURxCount += 1.0f/600.0f;
  }
  else if (temp_rxheader.Identifier == 20)//Right foot plate sensor
  {
    memcpy(&hWeWalkRight.data.forceSensorToe.b8[0], &temp_can_rx[0], 4);
    memcpy(&hWeWalkRight.data.forceSensorHeel.b8[0], &temp_can_rx[4], 4);
  }

  UNUSED(hfdcan);
  UNUSED(RxFifo1ITs);
}

void HAL_TIM_PeriodElapsedCallback(TIM_HandleTypeDef *htim)
{
  if (htim == &htim3)//WeWalk UI frequency: 237.5M / 47500 / 50 = 100 Hz (0.01 s)
    wewalk_ui_task_trigger_flag = 1;
  else if (htim == &htim4)//WeWalk main frequency: 237.5M / 47500 / 50 = 100 Hz
  {
    wewalk_main_task_trigger_flag = 1;
    wewalk_main_task_datalog_trigger++;
  }
  else if (htim == &htim5)//Motor Control frequency: 237.5M / 4750 / 50 = 1000 Hz
    motor_task_trigger_flag = 1;
	UNUSED(htim);
}

/* USER CODE END 4 */

void Error_Handler(void)
{
  __disable_irq();
  while (1)
  {
  }
}
